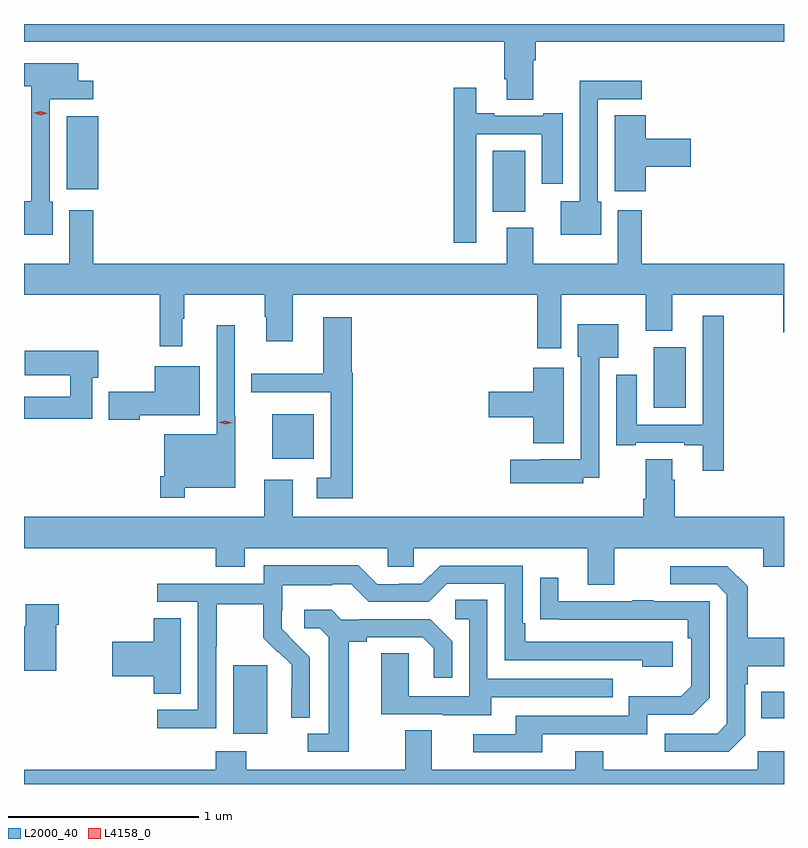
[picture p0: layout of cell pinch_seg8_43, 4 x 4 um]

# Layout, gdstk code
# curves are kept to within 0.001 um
import gdstk
lib = gdstk.Library(unit=1e-6, precision=1e-09)
def R(c, l, rs):  # rectangles x0, y0, x1, y1
    for r in rs: c.add(gdstk.rectangle(r[:2], r[2:], *l))
def P(c, l, *ps):  # polygons
    for p in ps: c.add(gdstk.Polygon(p, *l))
L2000_40 = (2000, 40)
L4158_0 = (4158, 0)

pinch_seg8_43 = lib.new_cell('pinch_seg8_43')
R(pinch_seg8_43, L2000_40, [(902.141,1155.482,902.32,1155.843), (904.921,1155.563,905.041,1155.703), (902.348,1156.931,902.566,1157.164), (904.355,1157.198,904.525,1157.518), (903.509,1158.23,903.679,1158.55), (901.265,1158.347,901.432,1158.733)])
P(pinch_seg8_43, L2000_40, [(903.721,1159.028),(903.734,1159.028),(903.734,1159.124),(905.041,1159.124),(905.041,1159.218),(901.041,1159.218),(901.041,1159.124),(903.569,1159.124),(903.569,1158.928),(903.581,1158.928),(903.581,1158.82),(903.721,1158.82)],
  [(901.192,1158.282),(901.176,1158.282),(901.176,1158.822),(901.405,1158.822),(901.405,1158.92),(901.327,1158.92),(901.327,1159.012),(901.041,1159.012),(901.041,1158.89),(901.08,1158.89),(901.08,1158.286),(901.041,1158.286),(901.041,1158.11),(901.192,1158.11)],
  [(904.078,1158.282),(904.062,1158.282),(904.062,1158.822),(904.291,1158.822),(904.291,1158.92),(903.966,1158.92),(903.966,1158.286),(903.866,1158.286),(903.866,1158.11),(904.078,1158.11)],
  [(903.42,1158.639),(903.767,1158.639),(903.767,1158.378),(903.877,1158.378),(903.877,1158.748),(903.773,1158.748),(903.773,1158.735),(903.517,1158.735),(903.517,1158.748),(903.421,1158.748),(903.421,1158.883),(903.304,1158.883),(903.304,1158.066),(903.42,1158.066)],
  [(904.313,1158.467),(904.549,1158.467),(904.549,1158.614),(904.313,1158.614),(904.313,1158.737),(904.151,1158.737),(904.151,1158.339),(904.313,1158.339)],
  [(903.868,1157.792),(904.313,1157.792),(904.313,1157.603),(904.453,1157.603),(904.453,1157.792),(905.038,1157.792),(905.038,1157.595),(905.041,1157.595),(905.041,1157.956),(904.292,1157.956),(904.292,1158.238),(904.166,1158.238),(904.166,1157.956),(903.721,1157.956),(903.721,1158.145),(903.581,1158.145),(903.581,1157.956),(901.406,1157.956),(901.406,1158.238),(901.28,1158.238),(901.28,1157.956),(901.041,1157.956),(901.041,1157.792),(901.756,1157.792),(901.756,1157.523),(901.874,1157.523),(901.874,1157.666),(901.885,1157.666),(901.885,1157.792),(902.308,1157.792),(902.308,1157.678),(902.315,1157.678),(902.315,1157.547),(902.455,1157.547),(902.455,1157.792),(903.743,1157.792),(903.743,1157.511),(903.868,1157.511)],
  [(904.723,1157.683),(904.614,1157.683),(904.614,1157.109),(904.267,1157.109),(904.267,1157.371),(904.157,1157.371),(904.157,1157.001),(904.261,1157.001),(904.261,1157.013),(904.517,1157.013),(904.517,1157.001),(904.613,1157.001),(904.613,1156.866),(904.723,1156.866)],
  [(902.771,1157.383),(902.765,1157.383),(902.765,1157.674),(902.615,1157.674),(902.615,1157.377),(902.236,1157.377),(902.236,1157.28),(902.655,1157.28),(902.655,1156.831),(902.583,1156.831),(902.583,1156.722),(902.771,1156.722)],
  [(903.984,1156.829),(904.068,1156.829),(904.068,1157.462),(904.168,1157.462),(904.168,1157.638),(903.956,1157.638),(903.956,1157.466),(903.972,1157.466),(903.972,1156.926),(903.756,1156.926),(903.756,1156.924),(903.6,1156.924),(903.6,1156.802),(903.984,1156.802)],
  [(901.888,1156.778),(902.153,1156.778),(902.153,1157.155),(902.151,1157.155),(902.151,1157.632),(902.055,1157.632),(902.055,1157.059),(901.779,1157.059),(901.779,1156.837),(901.759,1156.837),(901.759,1156.725),(901.888,1156.725)],
  [(901.401,1157.357),(901.432,1157.357),(901.432,1157.499),(901.044,1157.499),(901.044,1157.369),(901.285,1157.369),(901.285,1157.256),(901.041,1157.256),(901.041,1157.14),(901.401,1157.14)],
  [(901.65,1157.159),(901.966,1157.159),(901.966,1157.416),(901.73,1157.416),(901.73,1157.282),(901.488,1157.282),(901.488,1157.135),(901.65,1157.135)],
  [(903.883,1157.41),(903.722,1157.41),(903.722,1157.282),(903.486,1157.282),(903.486,1157.147),(903.722,1157.147),(903.722,1157.012),(903.883,1157.012)],
  [(904.147,1156.46),(904.931,1156.46),(904.931,1156.361),(905.041,1156.361),(905.041,1156.624),(904.466,1156.624),(904.466,1156.82),(904.453,1156.82),(904.453,1156.928),(904.313,1156.928),(904.313,1156.72),(904.301,1156.72),(904.301,1156.624),(902.455,1156.624),(902.455,1156.819),(902.306,1156.819),(902.306,1156.624),(901.041,1156.624),(901.041,1156.46),(902.051,1156.46),(902.051,1156.361),(902.203,1156.361),(902.203,1156.46),(902.955,1156.46),(902.955,1156.362),(903.093,1156.362),(903.093,1156.46),(904.007,1156.46),(904.007,1156.266),(904.147,1156.266)],
  [(902.052,1155.94),(902.055,1155.94),(902.055,1156.164),(902.299,1156.164),(902.299,1155.989),(902.376,1155.912),(902.379,1155.915),(902.45,1155.845),(902.45,1155.722),(902.448,1155.722),(902.448,1155.568),(902.544,1155.568),(902.544,1155.886),(902.398,1156.034),(902.398,1156.131),(902.4,1156.131),(902.4,1156.265),(902.663,1156.265),(902.663,1156.269),(902.763,1156.269),(902.856,1156.176),(903.171,1156.176),(903.267,1156.272),(903.57,1156.272),(903.57,1155.87),(904.295,1155.87),(904.295,1155.836),(904.456,1155.836),(904.456,1155.966),(903.679,1155.966),(903.679,1156.063),(903.666,1156.063),(903.666,1156.368),(903.231,1156.368),(903.135,1156.272),(903.017,1156.272),(903.017,1156.269),(902.901,1156.269),(902.801,1156.369),(902.304,1156.369),(902.304,1156.272),(901.743,1156.272),(901.743,1156.176),(901.956,1156.176),(901.956,1155.609),(901.743,1155.609),(901.743,1155.511),(902.052,1155.511)],
  [(904.836,1155.474),(904.836,1155.743),(904.849,1155.743),(904.849,1155.839),(905.041,1155.839),(905.041,1155.987),(904.849,1155.987),(904.849,1156.259),(904.743,1156.365),(904.443,1156.365),(904.443,1156.269),(904.686,1156.269),(904.74,1156.215),(904.74,1155.534),(904.689,1155.483),(904.413,1155.483),(904.413,1155.387),(904.749,1155.387)],
  [(903.769,1155.48),(904.32,1155.48),(904.32,1155.582),(904.56,1155.582),(904.65,1155.672),(904.65,1156.179),(904.355,1156.179),(904.355,1156.184),(904.243,1156.184),(904.243,1156.179),(903.853,1156.179),(903.853,1156.303),(903.757,1156.303),(903.757,1156.084),(904.534,1156.083),(904.534,1155.986),(904.554,1155.986),(904.554,1155.732),(904.501,1155.679),(904.224,1155.679),(904.224,1155.576),(903.629,1155.576),(903.629,1155.48),(903.405,1155.48),(903.405,1155.384),(903.769,1155.384)],
  [(903.499,1155.675),(904.139,1155.675),(904.139,1155.771),(903.48,1155.771),(903.48,1156.187),(903.312,1156.187),(903.312,1156.086),(903.384,1156.086),(903.384,1155.681),(903.066,1155.681),(903.066,1155.905),(902.921,1155.905),(902.921,1155.585),(903.245,1155.585),(903.245,1155.581),(903.499,1155.581)],
  [(901.21,1156.055),(901.223,1156.055),(901.223,1156.164),(901.049,1156.164),(901.049,1156.048),(901.041,1156.048),(901.041,1155.815),(901.21,1155.815)],
  [(902.749,1155.968),(902.845,1155.968),(902.845,1155.99),(903.14,1155.99),(903.197,1155.933),(903.197,1155.777),(903.294,1155.777),(903.294,1155.97),(903.178,1156.086),(902.806,1156.086),(902.806,1156.083),(902.712,1156.083),(902.66,1156.135),(902.517,1156.135),(902.517,1156.038),(902.598,1156.038),(902.645,1155.991),(902.645,1155.483),(902.535,1155.483),(902.535,1155.387),(902.749,1155.387)],
  [(901.867,1156.091),(901.724,1156.091),(901.724,1155.968),(901.506,1155.968),(901.506,1155.785),(901.724,1155.785),(901.724,1155.694),(901.867,1155.694)],
  [(903.941,1155.391),(903.941,1155.292),(903.187,1155.292),(903.187,1155.5),(903.047,1155.5),(903.047,1155.292),(902.211,1155.292),(902.211,1155.391),(902.051,1155.391),(902.051,1155.292),(901.041,1155.292),(901.041,1155.218),(905.041,1155.218),(905.041,1155.391),(904.902,1155.391),(904.902,1155.292),(904.089,1155.292),(904.089,1155.391)])
P(pinch_seg8_43, L4158_0, [(902.1,1157.111),(902.065,1157.123),(902.065,1157.123),(902.065,1157.123),(902.101,1157.131),(902.136,1157.12),(902.137,1157.12),(902.136,1157.119)],
  [(901.128,1158.739),(901.093,1158.75),(901.093,1158.751),(901.093,1158.751),(901.129,1158.759),(901.164,1158.748),(901.164,1158.748),(901.164,1158.748)])

lib.write_gds('pinch_seg8_43.gds')
